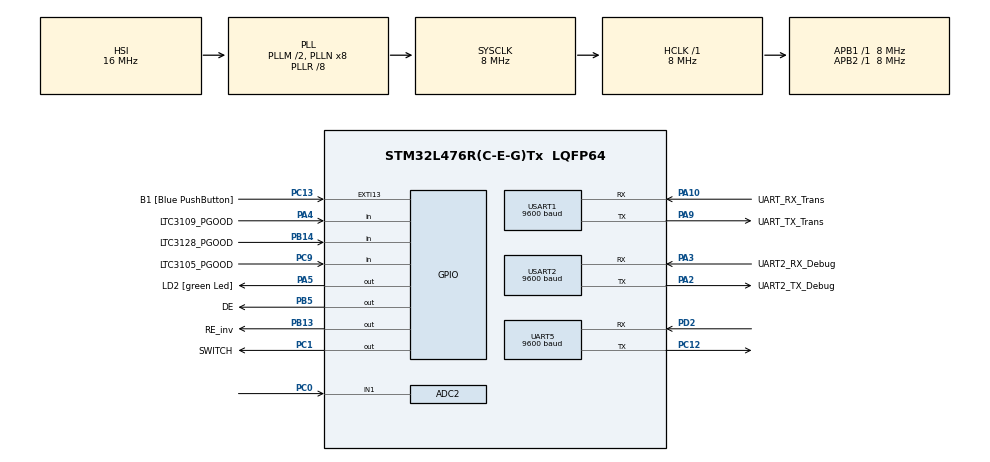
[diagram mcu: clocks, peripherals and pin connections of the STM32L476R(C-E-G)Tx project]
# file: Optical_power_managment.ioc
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ADC1.Channel-1\#ChannelRegularConversion=ADC_CHANNEL_TEMPSENSOR
ADC1.ClockPrescaler=ADC_CLOCK_ASYNC_DIV32
ADC1.ContinuousConvMode=ENABLE
ADC1.DMAContinuousRequests=ENABLE
ADC1.NbrOfConversion=1
ADC1.NbrOfConversionFlag=1
ADC1.OffsetNumber-1\#ChannelRegularConversion=ADC_OFFSET_NONE
ADC1.Rank-1\#ChannelRegularConversion=1
ADC1.SamplingTime-1\#ChannelRegularConversion=ADC_SAMPLETIME_2CYCLES_5
ADC1.master=1
ADC2.Channel-0\#ChannelRegularConversion=ADC_CHANNEL_1
ADC2.ClockPrescaler=ADC_CLOCK_ASYNC_DIV32
ADC2.ContinuousConvMode=ENABLE
ADC2.DMAContinuousRequests=ENABLE
ADC2.NbrOfConversionFlag=1
ADC2.OffsetNumber-0\#ChannelRegularConversion=ADC_OFFSET_NONE
ADC2.Rank-0\#ChannelRegularConversion=1
ADC2.SamplingTime-0\#ChannelRegularConversion=ADC_SAMPLETIME_47CYCLES_5
Dma.ADC1.0.Direction=DMA_PERIPH_TO_MEMORY
Dma.ADC1.0.Instance=DMA1_Channel1
Dma.ADC1.0.MemDataAlignment=DMA_MDATAALIGN_HALFWORD
Dma.ADC1.0.MemInc=DMA_MINC_ENABLE
Dma.ADC1.0.Mode=DMA_CIRCULAR
Dma.ADC1.0.PeriphDataAlignment=DMA_PDATAALIGN_HALFWORD
Dma.ADC1.0.PeriphInc=DMA_PINC_DISABLE
Dma.ADC1.0.Priority=DMA_PRIORITY_LOW
Dma.ADC2.1.Direction=DMA_PERIPH_TO_MEMORY
Dma.ADC2.1.Instance=DMA1_Channel2
Dma.ADC2.1.MemDataAlignment=DMA_MDATAALIGN_HALFWORD
Dma.ADC2.1.MemInc=DMA_MINC_ENABLE
Dma.ADC2.1.Mode=DMA_NORMAL
Dma.ADC2.1.PeriphDataAlignment=DMA_PDATAALIGN_HALFWORD
Dma.ADC2.1.PeriphInc=DMA_PINC_DISABLE
Dma.ADC2.1.Priority=DMA_PRIORITY_LOW
Dma.Request0=ADC1
Dma.Request1=ADC2
Mcu.Family=STM32L4
Mcu.Name=STM32L476R(C-E-G)Tx
Mcu.Package=LQFP64
NVIC.DMA1_Channel1_IRQn=true\:0\:0\:false\:false\:true\:false\:true
NVIC.DMA1_Channel2_IRQn=true\:0\:0\:false\:false\:true\:false\:true
NVIC.EXTI15_10_IRQn=true\:0\:0\:false\:false\:true\:true\:true
NVIC.PriorityGroup=NVIC_PRIORITYGROUP_4
NVIC.TIM6_DAC_IRQn=true\:0\:0\:false\:false\:true\:true\:true
PA0.Mode=SYS_WakeUp0
PA0.Signal=SYS_WKUP1
PA10.GPIO_Label=UART_RX_Trans
PA10.Mode=Asynchronous
PA10.Signal=USART1_RX
PA13\ (JTMS-SWDIO).GPIO_Label=TMS
PA13\ (JTMS-SWDIO).Mode=Serial_Wire
PA13\ (JTMS-SWDIO).Signal=SYS_JTMS-SWDIO
PA14\ (JTCK-SWCLK).GPIO_Label=TCK
PA14\ (JTCK-SWCLK).Mode=Serial_Wire
PA14\ (JTCK-SWCLK).Signal=SYS_JTCK-SWCLK
PA2.GPIO_Label=UART2_TX_Debug
PA2.GPIO_Mode=GPIO_MODE_AF_PP
PA2.GPIO_PuPd=GPIO_NOPULL
PA2.GPIO_Speed=GPIO_SPEED_FREQ_VERY_HIGH
PA2.Mode=Asynchronous
PA2.Signal=USART2_TX
PA3.GPIO_Label=UART2_RX_Debug
PA3.GPIO_Mode=GPIO_MODE_AF_PP
PA3.GPIO_PuPd=GPIO_NOPULL
PA3.GPIO_Speed=GPIO_SPEED_FREQ_VERY_HIGH
PA3.Mode=Asynchronous
PA3.Signal=USART2_RX
PA4.GPIO_Label=LTC3109_PGOOD
PA4.Signal=GPIO_Input
PA5.GPIO_Label=LD2 [green Led]
PA5.GPIO_ModeDefaultOutputPP=GPIO_MODE_OUTPUT_PP
PA5.GPIO_PuPd=GPIO_NOPULL
PA5.GPIO_Speed=GPIO_SPEED_FREQ_LOW
PA5.Signal=GPIO_Output
PA9.GPIO_Label=UART_TX_Trans
PA9.Mode=Asynchronous
PA9.Signal=USART1_TX
PB13.GPIO_Label=RE_inv
PB13.Signal=GPIO_Output
PB14.GPIO_Label=LTC3128_PGOOD
PB14.Signal=GPIO_Input
PB3\ (JTDO-TRACESWO).GPIO_Label=SWO
PB3\ (JTDO-TRACESWO).Signal=SYS_JTDO-SWO
PB5.GPIO_Label=DE
PB5.Signal=GPIO_Output
PC0.Signal=ADCx_IN1
PC1.GPIO_Label=SWITCH
PC1.Signal=GPIO_Output
PC12.Mode=Asynchronous
PC12.Signal=UART5_TX
PC13.GPIO_Label=B1 [Blue PushButton]
PC13.GPIO_ModeDefaultEXTI=GPIO_MODE_IT_FALLING
PC13.GPIO_PuPd=GPIO_NOPULL
PC13.Signal=GPXTI13
PC14-OSC32_IN\ (PC14).Signal=RCC_OSC32_IN
PC15-OSC32_OUT\ (PC15).Signal=RCC_OSC32_OUT
PC9.GPIO_Label=LTC3105_PGOOD
PC9.Signal=GPIO_Input
PD2.Mode=Asynchronous
PD2.Signal=UART5_RX
PH0-OSC_IN\ (PH0).Signal=RCC_OSC_IN
PH1-OSC_OUT\ (PH1).Signal=RCC_OSC_OUT
ProjectManager.HeapSize=0x200
ProjectManager.StackSize=0x400
ProjectManager.TargetToolchain=STM32CubeIDE
RCC.ADCCLockSelection=RCC_ADCCLKSOURCE_SYSCLK
RCC.ADCFreq_Value=8000000
RCC.AHBFreq_Value=8000000
RCC.APB1Freq_Value=8000000
RCC.APB1TimFreq_Value=8000000
RCC.APB2Freq_Value=8000000
RCC.APB2TimFreq_Value=8000000
RCC.CortexFreq_Value=8000000
RCC.HCLKFreq_Value=8000000
RCC.HSE_VALUE=8000000
RCC.HSI_VALUE=16000000
RCC.LSE_VALUE=32768
RCC.MSI_VALUE=4000000
RCC.PLLM=2
RCC.PLLR=RCC_PLLR_DIV8
RCC.PLLSourceVirtual=RCC_PLLSOURCE_HSI
RCC.PREFETCH_ENABLE=1
RCC.SYSCLKFreq_VALUE=8000000
RCC.SYSCLKSource=RCC_SYSCLKSOURCE_PLLCLK
RCC.USBFreq_Value=32000000
RCC.VCOOutputFreq_Value=64000000
SH.ADCx_IN1.0=ADC2_IN1,IN1-Single-Ended
TIM6.AutoReloadPreload=TIM_AUTORELOAD_PRELOAD_ENABLE
TIM6.Period=124
TIM6.Prescaler=7999
UART5.BaudRate=9600
USART1.BaudRate=9600
USART1.VirtualMode-Asynchronous=VM_ASYNC
USART2.BaudRate=9600
USART2.VirtualMode-Asynchronous=VM_ASYNC
VP_ADC1_TempSens_Input.Mode=IN-TempSens
VP_TIM6_VS_ClockSourceINT.Mode=Enable_Timer
board=NUCLEO-L476RG

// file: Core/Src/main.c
/* USER CODE BEGIN Header */
/**
  ******************************************************************************
  * @file           : main.c
  * @brief          : Main program body
  ******************************************************************************
  * @attention
  *
  * <h2><center>&copy; Copyright (c) 2020 STMicroelectronics.
  * All rights reserved.</center></h2>
  *
  * This software component is licensed by ST under BSD 3-Clause license,
  * the "License"; You may not use this file except in compliance with the
  * License. You may obtain a copy of the License at:
  *                        opensource.org/licenses/BSD-3-Clause
  *
  ******************************************************************************
  */
/* USER CODE END Header */
#include "main.h"
#include "adc.h"
#include "dma.h"
#include "tim.h"
#include "usart.h"
#include "gpio.h"

/* USER CODE BEGIN PD */

#define TEST_UART

#define MASK_LTC3105_PGOOD 0x01U
#define MASK_LTC3109_PGOOD 0x02U
#define MASK_LTC3128_PGOOD 0x04U

/* USER CODE END PD */

/* USER CODE BEGIN PV */

uint32_t dma_temp_measure_raw;
uint32_t dma_vcc_measure_raw;
uint8_t g_power_status = 0x00U;

/* USER CODE END PV */

void SystemClock_Config(void);
/* USER CODE BEGIN PFP */

void HAL_TIM_PeriodElapsedCallback(TIM_HandleTypeDef *htim);
void HAL_GPIO_EXTI_Callback(uint16_t GPIO_Pin);

/* USER CODE END PFP */

int main(void)
{

  /* MCU Configuration--------------------------------------------------------*/

  /* Reset of all peripherals, Initializes the Flash interface and the Systick. */
  HAL_Init();

  /* Configure the system clock */
  SystemClock_Config();

  /* Initialize all configured peripherals */
  MX_GPIO_Init();
  MX_DMA_Init();
  MX_USART2_UART_Init();
  MX_ADC1_Init();
  MX_USART1_UART_Init();
  MX_ADC2_Init();
  MX_TIM6_Init();
  MX_UART5_Init();
  /* USER CODE BEGIN 2 */

  // ADC measure
  HAL_ADC_Start_DMA(&hadc1, &dma_temp_measure_raw, 1);
  HAL_ADC_Start_DMA(&hadc2, &dma_vcc_measure_raw, 1);

  // Timer
  HAL_TIM_Base_Start_IT(&htim6);

  /* USER CODE END 2 */

  /* Infinite loop */
  /* USER CODE BEGIN WHILE */
  while (1)
  {
	  if(HAL_GPIO_ReadPin(LTC3105_PGOOD_GPIO_Port, LTC3105_PGOOD_Pin) == 1)
	  {
		  g_power_status |= MASK_LTC3105_PGOOD;
	  }
	  else
	  {
		  g_power_status &= ~MASK_LTC3105_PGOOD;
	  }

	  if(HAL_GPIO_ReadPin(LTC3109_PGOOD_GPIO_Port, LTC3109_PGOOD_Pin) == 1)
	  {
		  g_power_status |= MASK_LTC3109_PGOOD;
	  }
	  else
	  {
		  g_power_status &= ~MASK_LTC3109_PGOOD;
	  }

	  if(HAL_GPIO_ReadPin(LTC3128_PGOOD_GPIO_Port, LTC3128_PGOOD_Pin) == 1)
	  {
		  g_power_status |= MASK_LTC3128_PGOOD;
	  }
	  else
	  {
		  g_power_status &= ~MASK_LTC3128_PGOOD;
	  }

    /* USER CODE END WHILE */

  }
}

void SystemClock_Config(void)
{
  RCC_OscInitTypeDef RCC_OscInitStruct = {0};
  RCC_ClkInitTypeDef RCC_ClkInitStruct = {0};

  /** Configure the main internal regulator output voltage
  */
  if (HAL_PWREx_ControlVoltageScaling(PWR_REGULATOR_VOLTAGE_SCALE1) != HAL_OK)
  {
    Error_Handler();
  }
  /** Initializes the RCC Oscillators according to the specified parameters
  * in the RCC_OscInitTypeDef structure.
  */
  RCC_OscInitStruct.OscillatorType = RCC_OSCILLATORTYPE_HSI;
  RCC_OscInitStruct.HSIState = RCC_HSI_ON;
  RCC_OscInitStruct.HSICalibrationValue = RCC_HSICALIBRATION_DEFAULT;
  RCC_OscInitStruct.PLL.PLLState = RCC_PLL_ON;
  RCC_OscInitStruct.PLL.PLLSource = RCC_PLLSOURCE_HSI;
  RCC_OscInitStruct.PLL.PLLM = 2;
  RCC_OscInitStruct.PLL.PLLN = 8;
  RCC_OscInitStruct.PLL.PLLP = RCC_PLLP_DIV7;
  RCC_OscInitStruct.PLL.PLLQ = RCC_PLLQ_DIV2;
  RCC_OscInitStruct.PLL.PLLR = RCC_PLLR_DIV8;
  if (HAL_RCC_OscConfig(&RCC_OscInitStruct) != HAL_OK)
  {
    Error_Handler();
  }
  /** Initializes the CPU, AHB and APB buses clocks
  */
  RCC_ClkInitStruct.ClockType = RCC_CLOCKTYPE_HCLK|RCC_CLOCKTYPE_SYSCLK
                              |RCC_CLOCKTYPE_PCLK1|RCC_CLOCKTYPE_PCLK2;
  RCC_ClkInitStruct.SYSCLKSource = RCC_SYSCLKSOURCE_PLLCLK;
  RCC_ClkInitStruct.AHBCLKDivider = RCC_SYSCLK_DIV1;
  RCC_ClkInitStruct.APB1CLKDivider = RCC_HCLK_DIV1;
  RCC_ClkInitStruct.APB2CLKDivider = RCC_HCLK_DIV1;

  if (HAL_RCC_ClockConfig(&RCC_ClkInitStruct, FLASH_LATENCY_0) != HAL_OK)
  {
    Error_Handler();
  }
}

/* USER CODE BEGIN 4 */

void HAL_GPIO_EXTI_Callback(uint16_t GPIO_Pin)
  /* Prevent unused argument(s) compilation warning */
{
#if defined(TEST_UART)
  if (GPIO_Pin == B1_Pin)
  {
	  char data1[20];
	  char data2[150];

	  int size_1 = 0;
	  int size_2 = 0;

	  size_1 = sprintf(data1, "TEST_MESSAGE_UART1_");
	  HAL_UART_Transmit(&huart1, &data1, size_1, HAL_MAX_DELAY);
	  size_2 = sprintf(data2, "TEST_MESSAGE_UART2 POWER_STATUS = %d TEMP = %d VCC = %d\n", g_power_status, dma_temp_measure_raw, dma_vcc_measure_raw);
	  HAL_UART_Transmit(&huart5, &data2, size_2, HAL_MAX_DELAY);
  }
#endif
}

void HAL_TIM_PeriodElapsedCallback(TIM_HandleTypeDef *htim)
{
	if(htim->Instance == TIM6){
		HAL_GPIO_TogglePin(LD2_GPIO_Port, LD2_Pin);
	}
}

/* USER CODE END 4 */

void Error_Handler(void)
{
  __disable_irq();
  while (1)
  {
  }
}

/************************ (C) COPYRIGHT STMicroelectronics *****END OF FILE****/
